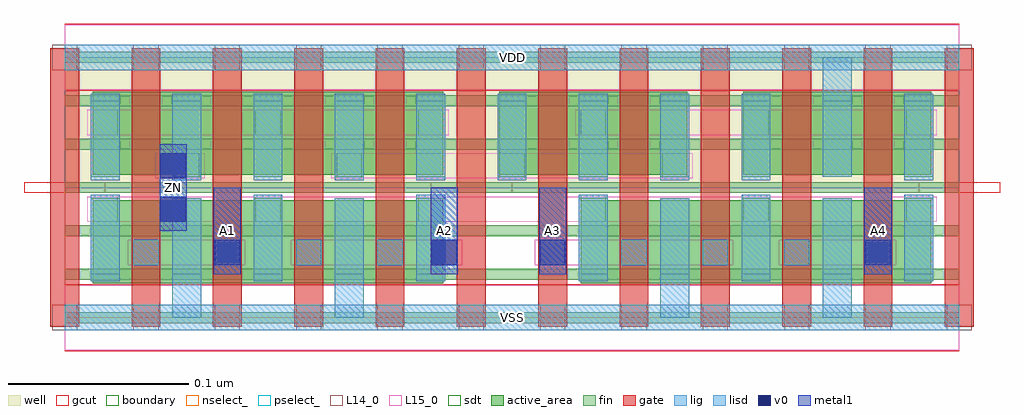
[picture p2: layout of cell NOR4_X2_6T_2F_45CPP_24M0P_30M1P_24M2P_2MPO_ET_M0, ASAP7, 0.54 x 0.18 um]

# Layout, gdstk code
import gdstk
lib = gdstk.Library(unit=1e-6, precision=2.5e-10)
def R(c, l, rs):  # rectangles x0, y0, x1, y1
    for r in rs: c.add(gdstk.rectangle(r[:2], r[2:], *l))
def A(c, l, x, y, w, h, nx, ny, dx, dy):  # array of equal rectangles
    R(c, l, [(x+i*dx, y+j*dy, x+i*dx+w, y+j*dy+h) for i in range(nx) for j in range(ny)])
well = (1, 0)
fin = (2, 0)
gate = (7, 0)
gcut = (10, 0)
active_area = (11, 0)
nselect_ = (12, 0)
pselect_ = (13, 0)
L14_0 = (14, 0)
L15_0 = (15, 0)
lig = (16, 0)
lisd = (17, 0)
v0 = (18, 0)
metal1 = (19, 0)
sdt = (88, 0)
boundary = (100, 0)

nor4_x2_6t_2f_45cpp_24m0 = lib.new_cell('NOR4_X2_6T_2F_45CPP_24M0P_30M1P_24M2P_2MPO_ET_M0')
R(nor4_x2_6t_2f_45cpp_24m0, well, [(0,0.072,0.495,0.144)])
A(nor4_x2_6t_2f_45cpp_24m0, fin, 0, -0.003, 0.495, 0.006, 1, 7, 0, 0.024)
A(nor4_x2_6t_2f_45cpp_24m0, gate, -0.008, -0.005, 0.016, 0.154, 12, 1, 0.045, 0)
R(nor4_x2_6t_2f_45cpp_24m0, gcut, [(0,-0.0185,0.495,0.0185), (-0.0225,0.069,0.0225,0.075), (0.2025,0.069,0.2475,0.075), (0.4725,0.069,0.5175,0.075), (0,0.1255,0.495,0.1625)])
A(nor4_x2_6t_2f_45cpp_24m0, active_area, 0.1055, 0.079, 0.104, 0.046, 3, 1, 0.135, 0)
R(nor4_x2_6t_2f_45cpp_24m0, active_area, [(0.0155,0.019,0.1195,0.065), (0.1055,0.019,0.2095,0.065), (0.2855,0.019,0.3895,0.065), (0.3755,0.019,0.4795,0.065), (0.0155,0.079,0.1195,0.125)])
R(nor4_x2_6t_2f_45cpp_24m0, nselect_, [(0,0,0.495,0.072)])
R(nor4_x2_6t_2f_45cpp_24m0, pselect_, [(0,0.072,0.495,0.144)])
A(nor4_x2_6t_2f_45cpp_24m0, L14_0, -0.007, -0.007, 0.014, 0.014, 12, 2, 0.045, 0.144)
A(nor4_x2_6t_2f_45cpp_24m0, L14_0, 0.038, 0.029, 0.014, 0.014, 4, 1, 0.045, 0)
A(nor4_x2_6t_2f_45cpp_24m0, L14_0, 0.263, 0.029, 0.014, 0.014, 5, 1, 0.045, 0)
A(nor4_x2_6t_2f_45cpp_24m0, L14_0, 0.0155, 0.053, 0.014, 0.014, 6, 2, 0.09, 0.048)
A(nor4_x2_6t_2f_45cpp_24m0, L14_0, 0.0605, 0.077, 0.014, 0.014, 4, 1, 0.09, 0)
R(nor4_x2_6t_2f_45cpp_24m0, L15_0, [(0,-0.018,0.495,0.018), (0.035,0.029,0.1,0.043), (0.125,0.029,0.22,0.043), (0.26,0.029,0.37,0.043), (0.395,0.029,0.46,0.043), (0.0125,0.053,0.4825,0.067), (0.05,0.077,0.0775,0.091), (0.1475,0.077,0.3475,0.091), (0.0125,0.101,0.2125,0.115), (0.2825,0.101,0.4825,0.115), (0,0.126,0.495,0.162)])
A(nor4_x2_6t_2f_45cpp_24m0, lig, 0.038, 0.029, 0.014, 0.014, 4, 1, 0.045, 0)
A(nor4_x2_6t_2f_45cpp_24m0, lig, 0.263, 0.029, 0.014, 0.014, 5, 1, 0.045, 0)
R(nor4_x2_6t_2f_45cpp_24m0, lig, [(0,-0.007,0.495,0.007), (0,0.137,0.495,0.151)])
A(nor4_x2_6t_2f_45cpp_24m0, lisd, 0.0145, 0.02, 0.016, 0.048, 6, 1, 0.09, 0)
A(nor4_x2_6t_2f_45cpp_24m0, lisd, 0.0145, 0.076, 0.016, 0.048, 9, 1, 0.045, 0)
R(nor4_x2_6t_2f_45cpp_24m0, lisd, [(0.0595,0,0.0755,0.066), (0.1495,0,0.1655,0.066), (0.3295,0,0.3455,0.066), (0.4195,0,0.4355,0.066), (0.4645,0.076,0.4805,0.124), (0.4195,0.078,0.4355,0.144)])
R(nor4_x2_6t_2f_45cpp_24m0, v0, [(0.083,0.029,0.097,0.043), (0.203,0.029,0.217,0.043), (0.263,0.029,0.277,0.043), (0.443,0.029,0.457,0.043), (0.053,0.053,0.067,0.067), (0.053,0.077,0.067,0.091)])
R(nor4_x2_6t_2f_45cpp_24m0, metal1, [(0.0825,0.024,0.0975,0.072), (0.2025,0.024,0.2175,0.072), (0.2625,0.024,0.2775,0.072), (0.4425,0.024,0.4575,0.072), (0.0525,0.048,0.0675,0.096)])
A(nor4_x2_6t_2f_45cpp_24m0, sdt, 0.0145, 0.024, 0.016, 0.042, 5, 1, 0.045, 0)
A(nor4_x2_6t_2f_45cpp_24m0, sdt, 0.2845, 0.024, 0.016, 0.042, 5, 1, 0.045, 0)
A(nor4_x2_6t_2f_45cpp_24m0, sdt, 0.0145, 0.078, 0.016, 0.042, 11, 1, 0.045, 0)
R(nor4_x2_6t_2f_45cpp_24m0, boundary, [(0,0,0.495,0.144)])
nor4_x2_6t_2f_45cpp_24m0.add(gdstk.Label('A4', (0.45,0.048), layer=19, texttype=251))
nor4_x2_6t_2f_45cpp_24m0.add(gdstk.Label('A3', (0.27,0.048), layer=19, texttype=251))
nor4_x2_6t_2f_45cpp_24m0.add(gdstk.Label('A2', (0.21,0.048), layer=19, texttype=251))
nor4_x2_6t_2f_45cpp_24m0.add(gdstk.Label('A1', (0.09,0.048), layer=19, texttype=251))
nor4_x2_6t_2f_45cpp_24m0.add(gdstk.Label('ZN', (0.06,0.072), layer=19, texttype=251))
nor4_x2_6t_2f_45cpp_24m0.add(gdstk.Label('VDD', (0.2475,0.144), layer=15, texttype=251))
nor4_x2_6t_2f_45cpp_24m0.add(gdstk.Label('VSS', (0.2475,0), layer=15, texttype=251))
nor4_x2_6t_2f_45cpp_24m0.add(gdstk.Label('VDD', (0.2475,0.144), layer=1, texttype=251))
nor4_x2_6t_2f_45cpp_24m0.add(gdstk.Label('VSS', (0.2475,0), layer=3, texttype=251))

lib.write_gds('NOR4_X2_6T_2F_45CPP_24M0P_30M1P_24M2P_2MPO_ET_M0.gds')
